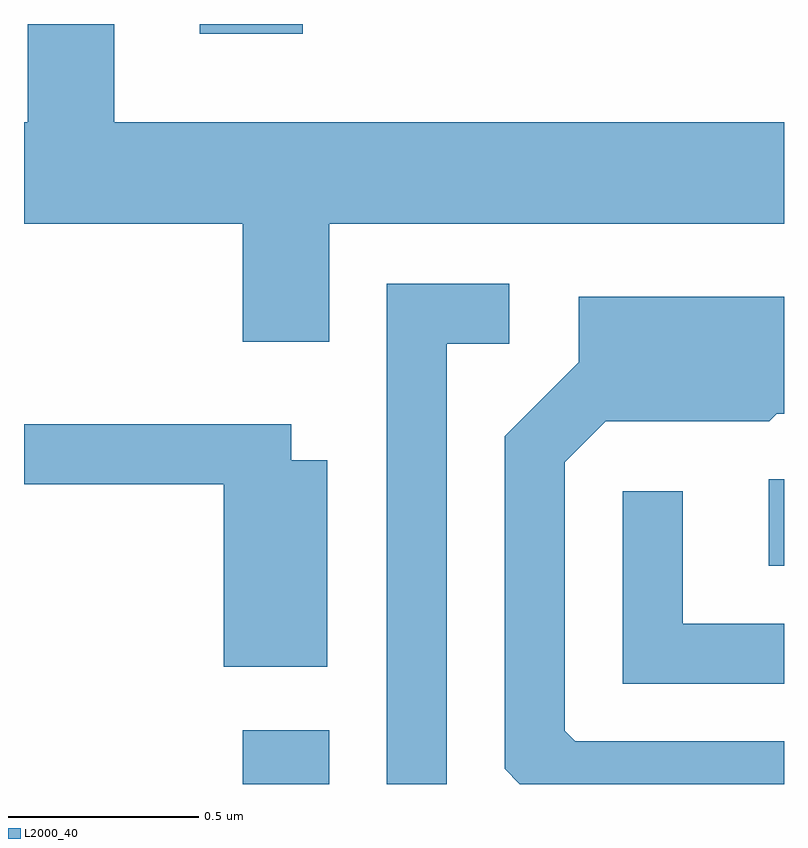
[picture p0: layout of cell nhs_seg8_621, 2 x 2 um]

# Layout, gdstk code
import gdstk
lib = gdstk.Library(unit=1e-6, precision=1e-09)
def R(c, l, rs):  # rectangles x0, y0, x1, y1
    for r in rs: c.add(gdstk.rectangle(r[:2], r[2:], *l))
def P(c, l, *ps):  # polygons
    for p in ps: c.add(gdstk.Polygon(p, *l))
L2000_40 = (2000, 40)

nhs_seg8_621 = lib.new_cell('nhs_seg8_621')
R(nhs_seg8_621, L2000_40, [(190.186,1879.342,190.414,1879.484), (191.571,1879.916,191.611,1880.144), (190.073,1881.316,190.344,1881.342)])
P(nhs_seg8_621, L2000_40, [(190.414,1880.816),(191.611,1880.816),(191.611,1881.084),(189.849,1881.084),(189.849,1881.342),(189.621,1881.342),(189.621,1881.084),(189.611,1881.084),(189.611,1880.816),(190.186,1880.816),(190.186,1880.506),(190.414,1880.506)],
  [(190.724,1880.501),(190.888,1880.501),(190.888,1880.659),(190.566,1880.659),(190.566,1879.342),(190.724,1879.342)],
  [(191.611,1879.454),(191.062,1879.454),(191.034,1879.482),(191.034,1880.189),(191.142,1880.296),(191.572,1880.296),(191.592,1880.316),(191.611,1880.316),(191.611,1880.624),(191.071,1880.624),(191.071,1880.452),(190.876,1880.257),(190.876,1879.382),(190.916,1879.342),(191.611,1879.342)],
  [(190.409,1880.194),(190.314,1880.194),(190.314,1880.289),(189.611,1880.289),(189.611,1880.131),(190.136,1880.131),(190.136,1879.651),(190.409,1879.651)],
  [(191.611,1879.764),(191.344,1879.764),(191.344,1880.113),(191.186,1880.113),(191.186,1879.606),(191.611,1879.606)])

lib.write_gds('nhs_seg8_621.gds')
